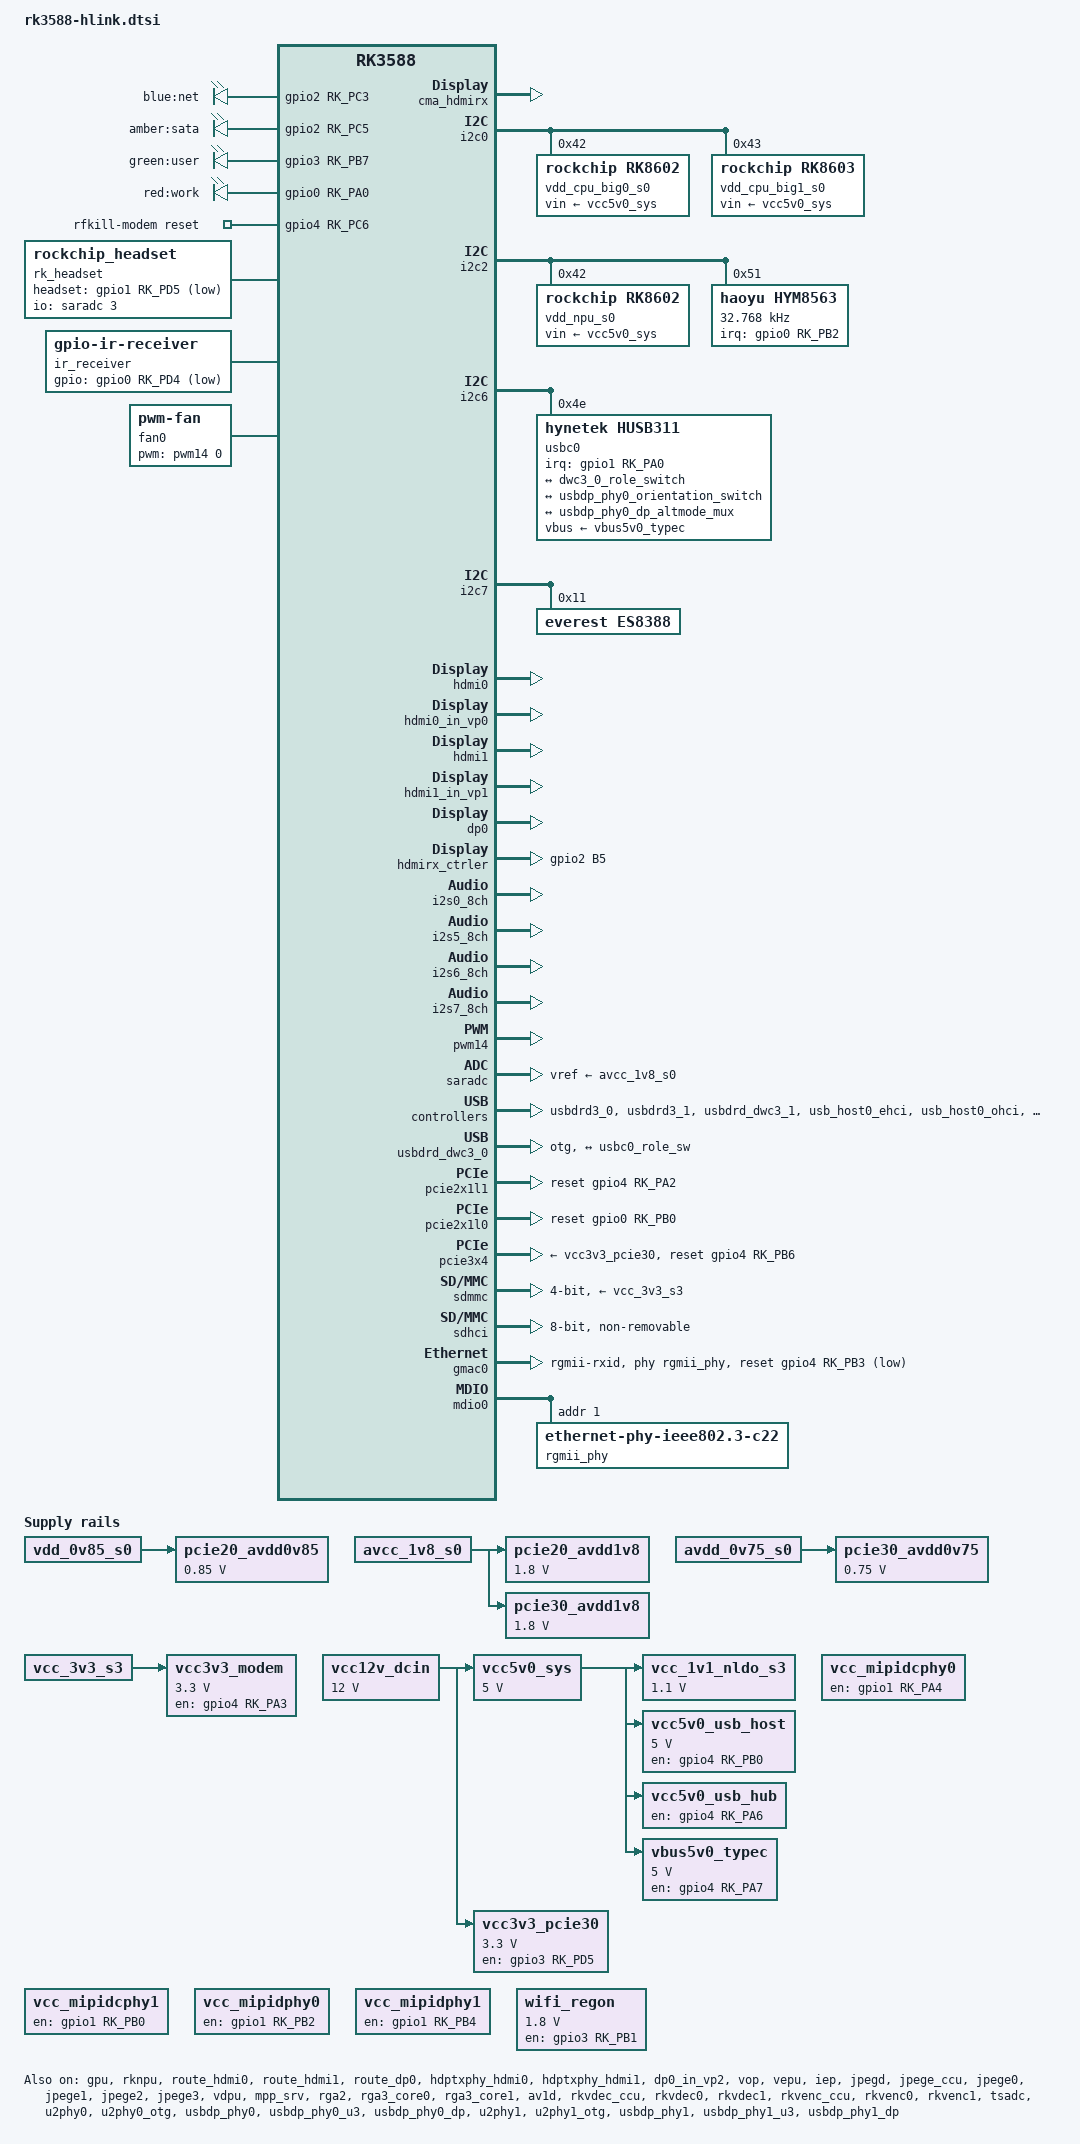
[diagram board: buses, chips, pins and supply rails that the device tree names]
// SPDX-License-Identifier: (GPL-2.0+ OR MIT)
// Copyright (c) 2023 Flippy <flippy@sina.com>

/dts-v1/;

#include <dt-bindings/gpio/gpio.h>
#include <dt-bindings/leds/common.h>
#include <dt-bindings/pwm/pwm.h>
#include <dt-bindings/pinctrl/rockchip.h>
#include <dt-bindings/input/rk-input.h>
#include <dt-bindings/display/drm_mipi_dsi.h>
#include <dt-bindings/display/rockchip_vop.h>
#include <dt-bindings/sensor-dev.h>
#include "dt-bindings/usb/pd.h"
#include "rk3588.dtsi"
#include "rk3588-rk806-single.dtsi"
#include "rk3588-linux.dtsi"
#include "rk3588-gpio-line-names.dtsi"

/ {
	compatible = "rockchip,rk3588";

	reserved-memory {
		#address-cells = <2>;
		#size-cells = <2>;
		ranges;

		/* Reserve 256MB memory for hdmirx-controller@fdee0000
		 * remove the node if hdmirx is disabled 
		 */
		cma_hdmirx: cma-hdmirx {
			compatible = "shared-dma-pool";
			reusable;
			size = <0x0 (256 * 0x100000)>;
		};
	};

	/delete-node/ chosen;

	leds {
		compatible = "gpio-leds";
		pinctrl-names = "default";
		pinctrl-0 = <&led_net_en>, <&led_sata_en>,
			    <&led_user_en>, <&led_work_en>;

		net {
			label = "blue:net";
			gpios = <&gpio2 RK_PC3 GPIO_ACTIVE_HIGH>;
		};

		sata {
			label = "amber:sata";
			gpios = <&gpio2 RK_PC5 GPIO_ACTIVE_HIGH>;
		};

		user {
			label = "green:user";
			gpios = <&gpio3 RK_PB7 GPIO_ACTIVE_HIGH>;
		};

		work {
			label = "red:work";
			gpios = <&gpio0 RK_PA0 GPIO_ACTIVE_HIGH>;
			linux,default-trigger = "default-on";
		};
	};

	vcc12v_dcin: vcc12v-dcin {
		compatible = "regulator-fixed";
		regulator-name = "vcc12v_dcin";
		regulator-always-on;
		regulator-boot-on;
		regulator-min-microvolt = <12000000>;
		regulator-max-microvolt = <12000000>;
	};

	vcc5v0_sys: vcc5v0-sys {
		compatible = "regulator-fixed";
		regulator-name = "vcc5v0_sys";
		regulator-always-on;
		regulator-boot-on;
		regulator-min-microvolt = <5000000>;
		regulator-max-microvolt = <5000000>;
		vin-supply = <&vcc12v_dcin>;
	};

	pcie20_avdd0v85: pcie20-avdd0v85 {
		compatible = "regulator-fixed";
		regulator-name = "pcie20_avdd0v85";
		regulator-boot-on;
		regulator-always-on;
		regulator-min-microvolt = <850000>;
		regulator-max-microvolt = <850000>;
		vin-supply = <&vdd_0v85_s0>;
	};

	pcie20_avdd1v8: pcie20-avdd1v8 {
		compatible = "regulator-fixed";
		regulator-name = "pcie20_avdd1v8";
		regulator-boot-on;
		regulator-always-on;
		regulator-min-microvolt = <1800000>;
		regulator-max-microvolt = <1800000>;
		vin-supply = <&avcc_1v8_s0>;
	};

	pcie30_avdd0v75: pcie30-avdd0v75 {
		compatible = "regulator-fixed";
		regulator-name = "pcie30_avdd0v75";
		regulator-boot-on;
		regulator-always-on;
		regulator-min-microvolt = <750000>;
		regulator-max-microvolt = <750000>;
		vin-supply = <&avdd_0v75_s0>;
	};

	pcie30_avdd1v8: pcie30-avdd1v8 {
		compatible = "regulator-fixed";
		regulator-name = "pcie30_avdd1v8";
		regulator-boot-on;
		regulator-always-on;
		regulator-min-microvolt = <1800000>;
		regulator-max-microvolt = <1800000>;
		vin-supply = <&avcc_1v8_s0>;
	};

	vcc_1v1_nldo_s3: vcc-1v1-nldo-s3 {
		compatible = "regulator-fixed";
		regulator-name = "vcc_1v1_nldo_s3";
		regulator-always-on;
		regulator-boot-on;
		regulator-min-microvolt = <1100000>;
		regulator-max-microvolt = <1100000>;
		vin-supply = <&vcc5v0_sys>;
	};

	vcc3v3_pcie30: vcc3v3-pcie30 {
		compatible = "regulator-fixed";
		regulator-name = "vcc3v3_pcie30";
		regulator-min-microvolt = <3300000>;
		regulator-max-microvolt = <3300000>;
		enable-active-high;
		gpios = <&gpio3 RK_PD5 GPIO_ACTIVE_HIGH>;
		startup-delay-us = <5000>;
		vin-supply = <&vcc12v_dcin>;
	};

	vcc5v0_usb_host: vcc5v0-usb-host {
		compatible = "regulator-fixed";
		regulator-name = "vcc5v0_usb_host";
		regulator-min-microvolt = <5000000>;
		regulator-max-microvolt = <5000000>;
		enable-active-high;
		gpio = <&gpio4 RK_PB0 GPIO_ACTIVE_HIGH>;
		pinctrl-names = "default";
		pinctrl-0 = <&vcc5v0_usb_host_en>;
		vin-supply = <&vcc5v0_sys>;
	};

	/* usb hub reset pin */
	vcc5v0_usb_hub: vcc5v0-usb-hub {
		compatible = "regulator-fixed";
		regulator-name = "vcc5v0_usb_hub";
		regulator-always-on;
		enable-active-high;
		gpio = <&gpio4 RK_PA6 GPIO_ACTIVE_HIGH>;
		pinctrl-names = "default";
		pinctrl-0 = <&vcc5v0_usb_hub_en>;
		startup-delay-us = <50000>;
		vin-supply = <&vcc5v0_sys>;
	};

	vbus5v0_typec: vbus5v0-typec {
		compatible = "regulator-fixed";
		regulator-name = "vbus5v0_typec";
		regulator-min-microvolt = <5000000>;
		regulator-max-microvolt = <5000000>;
		regulator-boot-on;
		enable-active-high;
		gpio = <&gpio4 RK_PA7 GPIO_ACTIVE_HIGH>;
		pinctrl-names = "default";
		pinctrl-0 = <&typec5v_pwren>;
		vin-supply = <&vcc5v0_sys>;
	};

	vcc_mipidcphy0: vcc-mipidcphy0 {
		compatible = "regulator-fixed";
		regulator-name = "vcc_mipidcphy0";
		enable-active-high;
		gpio = <&gpio1 RK_PA4 GPIO_ACTIVE_HIGH>;
		pinctrl-names = "default";
		pinctrl-0 = <&mipidcphy0_pwr>;
	};

	vcc_mipidcphy1: vcc-mipidcphy1 {
		compatible = "regulator-fixed";
		regulator-name = "vcc_mipidcphy1";
		enable-active-high;
		gpio = <&gpio1 RK_PB0 GPIO_ACTIVE_HIGH>;
		pinctrl-names = "default";
		pinctrl-0 = <&mipidcphy1_pwr>;
	};

	vcc_mipidphy0: vcc-mipidphy0 {
		compatible = "regulator-fixed";
		regulator-name = "vcc_mipidphy0";
		enable-active-high;
		gpio = <&gpio1 RK_PB2 GPIO_ACTIVE_HIGH>;
		pinctrl-names = "default";
		pinctrl-0 = <&mipidphy0_pwr>;
	};

	vcc_mipidphy1: vcc-mipidphy1 {
		compatible = "regulator-fixed";
		regulator-name = "vcc_mipidphy1";
		enable-active-high;
		gpio = <&gpio1 RK_PB4 GPIO_ACTIVE_HIGH>;
		pinctrl-names = "default";
		pinctrl-0 = <&mipidphy1_pwr>;
	};

	vcc3v3_modem: vcc3v3-modem {
		compatible = "regulator-fixed";
		enable-active-high;
		regulator-always-on;
		regulator-boot-on;
		gpios = <&gpio4 RK_PA3 GPIO_ACTIVE_HIGH>;
		regulator-min-microvolt = <3300000>;
		regulator-max-microvolt = <3300000>;
		regulator-name = "vcc3v3_modem";
		pinctrl-names = "default";
		pintctrl-0 = <&modem_power_en>;
		vin-supply = <&vcc_3v3_s3>;
	};

	rfkill_modem: rfkill-modem {
		compatible = "rfkill-gpio";
		label = "rfkill-modem";
		type = "wwan";
		reset-gpios = <&gpio4 RK_PC6 GPIO_ACTIVE_HIGH>;

		pinctrl-names = "default";
		pinctrl-0 = <&modem_reset_en>;
	};

	/* wifi regon support some wifi modules like rtl8723be */
	wifi_regon: wifi-regon {
		compatible = "regulator-fixed";
		enable-active-high;
		gpio = <&gpio3 RK_PB1 GPIO_ACTIVE_HIGH>;
		regulator-boot-on;
		regulator-always-on;
		regulator-min-microvolt = <1800000>;
		regulator-max-microvolt = <1800000>;
		regulator-name = "wifi_regon";
		startup-delay-us = <5000>;
	};

	es8388_sound: es8388-sound {
		status = "okay";
		compatible = "simple-audio-card";
		simple-audio-card,format = "i2s";
		simple-audio-card,mclk-fs = <256>;
		simple-audio-card,name = "rockchip-es8388";
		simple-audio-card,dai-link@0 {
			format = "i2s";
			cpu {
				sound-dai = <&i2s0_8ch>;
			};
			codec {
				sound-dai = <&es8388>;
			};
		};
	};

	hdmi0_sound: hdmi0-sound {
		status = "okay";
		compatible = "rockchip,hdmi";
		rockchip,mclk-fs = <128>;
		rockchip,card-name = "rockchip-hdmi0";
		rockchip,cpu = <&i2s5_8ch>;
		rockchip,codec = <&hdmi0>;
		rockchip,jack-det;
	};

	hdmi1_sound: hdmi1-sound {
		status = "okay";
		compatible = "rockchip,hdmi";
		rockchip,mclk-fs = <128>;
		rockchip,card-name = "rockchip-hdmi1";
		rockchip,cpu = <&i2s6_8ch>;
		rockchip,codec = <&hdmi1>;
		rockchip,jack-det;
	};

	dp0_sound: dp0-sound {
		status = "okay";
		compatible = "rockchip,hdmi";
		rockchip,card-name= "rockchip-hdmi2";
		rockchip,mclk-fs = <512>;
		rockchip,cpu = <&spdif_tx2>;
		rockchip,codec = <&dp0 1>;
		rockchip,jack-det;
	};

	hdmiin_sound: hdmiin-sound {
		compatible = "rockchip,hdmi";
		rockchip,mclk-fs = <128>;
		rockchip,format = "i2s";
		rockchip,bitclock-master = <&hdmirx_ctrler>;
		rockchip,frame-master = <&hdmirx_ctrler>;
		rockchip,card-name = "rockchip,hdmiin";
		rockchip,cpu = <&i2s7_8ch>;
		rockchip,codec = <&hdmirx_ctrler 0>;
		rockchip,jack-det;
	};

	rk_headset: rk-headset {
		status = "okay";
		compatible = "rockchip_headset";
		headset_gpio = <&gpio1 RK_PD5 GPIO_ACTIVE_LOW>;
		pinctrl-names = "default";
		pinctrl-0 = <&hp_det>;
		io-channels = <&saradc 3>;
	};

	ir_receiver: ir-receiver {
		compatible = "gpio-ir-receiver";
		gpios = <&gpio0 RK_PD4 GPIO_ACTIVE_LOW>;
		pinctrl-0 = <&ir_int_pin>;
		pinctrl-names = "default";
	};

	fan0: pwm-fan {
		compatible = "pwm-fan";
		#cooling-cells = <2>;
		cooling-levels = <0 64 128 192 255>;
		pwms = <&pwm14 0 50000 0>;
	};
};

&cpu_l0 {
	cpu-supply = <&vdd_cpu_lit_s0>;
	mem-supply = <&vdd_cpu_lit_mem_s0>;
};

&cpu_b0 {
	cpu-supply = <&vdd_cpu_big0_s0>;
	mem-supply = <&vdd_cpu_big0_mem_s0>;
};

&cpu_b2 {
	cpu-supply = <&vdd_cpu_big1_s0>;
	mem-supply = <&vdd_cpu_big1_mem_s0>;
};

&gpu {
	mali-supply = <&vdd_gpu_s0>;
	mem-supply = <&vdd_gpu_mem_s0>;
	status = "okay";
};

&rknpu {
	rknpu-supply = <&vdd_npu_s0>;
	mem-supply = <&vdd_npu_mem_s0>;
	status = "okay";
};

&rknpu_mmu {
	status = "okay";
};

&crypto {
	status = "disabled";
};

&i2c0 {
	pinctrl-names = "default";
	pinctrl-0 = <&i2c0m2_xfer>;
	status = "okay";

	vdd_cpu_big0_s0: vdd_cpu_big0_mem_s0: rk8602@42 {
		compatible = "rockchip,rk8602";
		reg = <0x42>;
		regulator-always-on;
		regulator-boot-on;
		regulator-compatible = "rk860x-reg";
		regulator-min-microvolt = <550000>;
		regulator-max-microvolt = <1050000>;
		regulator-name = "vdd_cpu_big0_s0";
		regulator-ramp-delay = <2300>;
		rockchip,suspend-voltage-selector = <1>;
		vin-supply = <&vcc5v0_sys>;

		regulator-state-mem {
			regulator-off-in-suspend;
		};
	};

	vdd_cpu_big1_s0: vdd_cpu_big1_mem_s0: rk8603@43 {
		compatible = "rockchip,rk8603";
		reg = <0x43>;
		regulator-always-on;
		regulator-boot-on;
		regulator-compatible = "rk860x-reg";
		regulator-min-microvolt = <550000>;
		regulator-max-microvolt = <1050000>;
		regulator-name = "vdd_cpu_big1_s0";
		regulator-ramp-delay = <2300>;
		rockchip,suspend-voltage-selector = <1>;
		vin-supply = <&vcc5v0_sys>;

		regulator-state-mem {
			regulator-off-in-suspend;
		};
	};
};

&i2c2 {
	status = "okay";

	vdd_npu_s0: vdd_npu_mem_s0: rk8602@42 {
		compatible = "rockchip,rk8602";
		reg = <0x42>;
		regulator-always-on;
		regulator-boot-on;
		regulator-compatible = "rk860x-reg";
		regulator-min-microvolt = <550000>;
		regulator-max-microvolt = <950000>;
		regulator-name = "vdd_npu_s0";
		regulator-ramp-delay = <2300>;
		rockchip,suspend-voltage-selector = <1>;
		vin-supply = <&vcc5v0_sys>;

		regulator-state-mem {
			regulator-off-in-suspend;
		};
	};

	hym8563: hym8563@51 {
		compatible = "haoyu,hym8563";
		reg = <0x51>;
		#clock-cells = <0>;
		clock-frequency = <32768>;
		clock-output-names = "hym8563";
		interrupt-parent = <&gpio0>;
		interrupts = <RK_PB2 IRQ_TYPE_LEVEL_LOW>;
		pinctrl-names = "default";
		pinctrl-0 = <&rtc_int>;
		wakeup-source;
	};
};

&i2c6 {
	status = "okay";

	usbc0: husb311@4e {
		status = "okay";
		compatible = "hynetek,husb311";
		reg = <0x4e>;
		interrupt-parent = <&gpio1>;
		interrupts = <RK_PA0 IRQ_TYPE_LEVEL_LOW>;
		pinctrl-names = "default";
		pinctrl-0 = <&usbc0_int>;
		vbus-supply = <&vbus5v0_typec>;

		ports {
			#address-cells = <1>;
			#size-cells = <0>;

			port@0 {
				reg = <0>;
				usbc0_role_sw: endpoint@0 {
					remote-endpoint = <&dwc3_0_role_switch>;
				};
			};
		};

		usb_con: connector {
			compatible = "usb-c-connector";
			label = "USB-C";
			data-role = "dual";
			power-role = "dual";
			try-power-role = "sink";
			op-sink-microwatt = <1000000>;
			sink-pdos =
				<PDO_FIXED(5000, 3000, PDO_FIXED_USB_COMM)>;
			source-pdos =
				<PDO_FIXED(5000, 3000, PDO_FIXED_USB_COMM)>;

			altmodes {
				#address-cells = <1>;
				#size-cells = <0>;

				altmode@0 {
					reg = <0>;
					svid = <0xff01>;
					vdo = <0xffffffff>;
				};
			};

			ports {
				#address-cells = <1>;
				#size-cells = <0>;

				port@0 {
					reg = <0>;
					usbc0_orien_sw: endpoint {
						remote-endpoint = <&usbdp_phy0_orientation_switch>;
					};
				};

				port@1 {
					reg = <1>;
					dp_altmode_mux: endpoint {
						remote-endpoint = <&usbdp_phy0_dp_altmode_mux>;
					};
				};
			};
		};
	};
};

&i2c7 {
	status = "okay";

	es8388: es8388@11 {
		compatible = "everest,es8388", "everest,es8323";
		reg = <0x11>;
		clocks = <&cru I2S0_8CH_MCLKOUT>;
		clock-names = "mclk";
		assigned-clocks = <&cru I2S0_8CH_MCLKOUT>;
		assigned-clock-rates = <12288000>;
		pinctrl-names = "default";
		pinctrl-0 = <&i2s0_mclk>;
		#sound-dai-cells = <0>;
	};
};

&display_subsystem {
	clocks = <&hdptxphy_hdmi_clk0>, <&hdptxphy_hdmi_clk1>;
	clock-names = "hdmi0_phy_pll", "hdmi1_phy_pll";
};

&route_hdmi0 {
	status = "okay";
	force-output;
	connect = <&vp0_out_hdmi0>;
};

&route_hdmi1 {
	status = "okay";
	force-output;
	connect = <&vp1_out_hdmi1>;
};

&route_dp0 {
	status = "okay";
	connect = <&vp2_out_dp0>;
};

&hdptxphy_hdmi_clk0 {
	status = "okay";
};

&hdptxphy_hdmi_clk1 {
	status = "okay";
};

&hdptxphy_hdmi0 {
	status = "okay";
};

&hdptxphy_hdmi1 {
	status = "okay";
};

&hdmi0 {
	enable-gpios = <&gpio4 RK_PB1 GPIO_ACTIVE_HIGH>;
	cec-enable = "true";
	status = "okay";
};

&hdmi0_in_vp0 {
	status = "okay";
};

&hdmi0_in_vp1 {
	status = "disabled";
};

&hdmi0_in_vp2 {
	status = "disabled";
};

&hdmi1 {
	enable-gpios = <&gpio4 RK_PB2 GPIO_ACTIVE_HIGH>;
	cec-enable = "true";
	status = "okay";
};

&hdmi1_in_vp0 {
	status = "disabled";
};

&hdmi1_in_vp1 {
	status = "okay";
};

&hdmi1_in_vp2 {
	status = "disabled";
};

&dp0 {
	status = "okay";
};

&dp0_in_vp0 {
	status = "disabled";
};

&dp0_in_vp1 {
	status = "disabled";
};

&dp0_in_vp2 {
	status = "okay";
};

&vop {
	status = "okay";
};

&vop_mmu {
	status = "okay";
};

&vepu {
	status = "okay";
};

/* vp0 & vp1 splice for 8K output */
&vp0 {
	rockchip,plane-mask = <(1 << ROCKCHIP_VOP2_CLUSTER0 | 1 << ROCKCHIP_VOP2_ESMART0)>;
	rockchip,primary-plane = <ROCKCHIP_VOP2_CLUSTER0>;
	cursor-win-id = <ROCKCHIP_VOP2_ESMART0>;
};

&vp1 {
	rockchip,plane-mask = <(1 << ROCKCHIP_VOP2_CLUSTER1 | 1 << ROCKCHIP_VOP2_ESMART1)>;
	rockchip,primary-plane = <ROCKCHIP_VOP2_CLUSTER1>;
	cursor-win-id = <ROCKCHIP_VOP2_ESMART1>;
};

&vp2 {
	rockchip,plane-mask = <(1 << ROCKCHIP_VOP2_CLUSTER2 | 1 << ROCKCHIP_VOP2_ESMART2)>;
	rockchip,primary-plane = <ROCKCHIP_VOP2_CLUSTER2>;
	cursor-win-id = <ROCKCHIP_VOP2_ESMART2>;
};

&vp3 {
	rockchip,plane-mask = <(1 << ROCKCHIP_VOP2_CLUSTER3 | 1 << ROCKCHIP_VOP2_ESMART3)>;
	rockchip,primary-plane = <ROCKCHIP_VOP2_CLUSTER3>;
	cursor-win-id = <ROCKCHIP_VOP2_ESMART3>;
};

/* Should work with at least 128MB cma reserved above. */
&hdmirx_ctrler {
	status = "okay";
	memory-region = <&cma_hdmirx>;

	#sound-dai-cells = <1>;
	/* Effective level used to trigger HPD: 0-low, 1-high */
	hpd-trigger-level = <1>;
	hdmirx-det-gpios = <&gpio2 RK_PB5 GPIO_ACTIVE_LOW>;
	pinctrl-names = "default";
	pinctrl-0 = <&hdmim1_rx_cec &hdmim1_rx_hpdin &hdmim1_rx_scl &hdmim1_rx_sda &hdmirx_det>;
};

&i2s0_8ch {
	status = "okay";
	rockchip,playback-channels = <2>;
	rockchip,capture-channels = <2>;
	#sound-dai-cells = <0>;
	pinctrl-names = "default";
	pinctrl-0 = <&i2s0_lrck
			 &i2s0_sclk
			 &i2s0_sdi0
			 &i2s0_sdo0>;
};

&i2s5_8ch {
	status = "okay";
};

&i2s6_8ch {
	status = "okay";
};

&i2s7_8ch {
	status = "okay";
};

&iep {
	status = "okay";
};

&iep_mmu {
	status = "okay";
};

&jpegd {
	status = "okay";
};

&jpegd_mmu {
	status = "okay";
};

&jpege_ccu {
	status = "okay";
};

&jpege0 {
	status = "okay";
};

&jpege0_mmu {
	status = "okay";
};

&jpege1 {
	status = "okay";
};

&jpege1_mmu {
	status = "okay";
};

&jpege2 {
	status = "okay";
};

&jpege2_mmu {
	status = "okay";
};

&jpege3 {
	status = "okay";
};

&jpege3_mmu {
	status = "okay";
};

&vdpu {
	status = "okay";
};

&vdpu_mmu {
	status = "okay";
};

&mpp_srv {
	status = "okay";
};

&rga2 {
	status = "okay";
};

&rga3_core0 {
	status = "okay";
};

&rga3_0_mmu {
	status = "okay";
};

&rga3_core1 {
	status = "okay";
};

&rga3_1_mmu {
	status = "okay";
};

&av1d {
	status = "okay";
};

&av1d_mmu {
	status = "okay";
};

&pwm14 {
	status = "okay";
};

&threshold {
	temperature = <60000>;
};

&soc_thermal {
	sustainable-power = <5000>; /* milliwatts */

	cooling-maps {

		map3 {
			trip = <&target>;
			cooling-device =
				<&fan0 THERMAL_NO_LIMIT THERMAL_NO_LIMIT>;
			contribution = <8192>;
		};

		map4 {
			trip = <&threshold>;
			cooling-device =
				<&fan0 THERMAL_NO_LIMIT THERMAL_NO_LIMIT>;
			contribution = <8192>;
		};
	};
};

&rkvdec_ccu {
	status = "okay";
};

&rkvdec0 {
	status = "okay";
};

&rkvdec0_mmu {
	status = "okay";
};

&rkvdec1 {
	status = "okay";
};

&rkvdec1_mmu {
	status = "okay";
};

&rkvenc_ccu {
	status = "okay";
};

&rkvenc0 {
	status = "okay";
};

&rkvenc0_mmu {
	status = "okay";
};

&rkvenc1 {
	status = "okay";
};

&rkvenc1_mmu {
	status = "okay";
};

&saradc {
	status = "okay";
	vref-supply = <&avcc_1v8_s0>;
};

&tsadc {
	status = "okay";
};

&rockchip_suspend {
	compatible = "rockchip,pm-rk3588";
	status = "okay";
	rockchip,sleep-debug-en = <1>;
	rockchip,sleep-mode-config = <
		(0
		| RKPM_SLP_ARMOFF_DDRPD
		)
	>;
	rockchip,wakeup-config = <
		(0
		| RKPM_GPIO_WKUP_EN
		| RKPM_USB_WKUP_EN
		)
	>;
};

&avdd_0v75_s0 {
	regulator-state-mem {
		regulator-on-in-suspend;
		regulator-suspend-microvolt = <837500>;
	};
};

&avcc_1v8_s0 {
	regulator-state-mem {
		regulator-on-in-suspend;
		regulator-suspend-microvolt = <1800000>;
	};
};

&vcc_1v8_s0 {
	regulator-state-mem {
		regulator-on-in-suspend;
		regulator-suspend-microvolt = <1800000>;
	};
};

&vcc_3v3_s0 {
	regulator-state-mem {
		regulator-on-in-suspend;
		regulator-suspend-microvolt = <3300000>;
	};
};

&vdd_log_s0 {
	regulator-state-mem {
		regulator-on-in-suspend;
		regulator-suspend-microvolt = <750000>;
	};
};

&vdd_ddr_pll_s0 {
	regulator-state-mem {
		regulator-on-in-suspend;
		regulator-suspend-microvolt = <850000>;
	};
};

&sfc {
	status = "disabled";
	max-freq = <50000000>;
	#address-cells = <1>;
	#size-cells = <0>;
	pinctrl-names = "default";
	pinctrl-0 = <&fspim2_pins>;

	spi_flash: spi-flash@0 {
		#address-cells = <1>;
		#size-cells = <0>;
		compatible = "jedec,spi-nor";
		reg = <0x0>;
		spi-max-frequency = <50000000>;
		spi-tx-bus-width = <1>;
		spi-rx-bus-width = <4>;
		status = "okay";

		partitions {
			compatible = "fixed-partitions";
			#address-cells = <1>;
			#size-cells = <1>;

			loader@0 {
				label = "loader";
				reg = <0x0 0x1000000>;
			};
		};
	};
};

/* Begin of USB
 * TYPEC0 
 *   usbdrd3_0 + usbdrd_dwc3_0 
 *   u2phy0 + u2phy0_otg + usbdp_phy0 + usbdp_phy0_u3
 */
&usbdrd3_0 {
	status = "okay";
};

&usbdrd_dwc3_0 {
	status = "okay";
	dr_mode = "otg";
	extcon = <&u2phy0>;
	usb-role-switch;

	port {
		#address-cells = <1>;
		#size-cells = <0>;
		dwc3_0_role_switch: endpoint@0 {
			reg = <0>;
			remote-endpoint = <&usbc0_role_sw>;
		};
	};
};

&u2phy0 {
	status = "okay";
};

&u2phy0_otg {
	status = "okay";
	vbus-supply = <&vbus5v0_typec>;
	rockchip,typec-vbus-det;
};

&usbdp_phy0 {
	status = "okay";
	orientation-switch;

	rockchip,dp-lane-mux = < 2 3 >;

	svid = <0xff01>;
	sbu1-dc-gpios = <&gpio0 RK_PC6 GPIO_ACTIVE_HIGH>;
	sbu2-dc-gpios = <&gpio0 RK_PD3 GPIO_ACTIVE_HIGH>;

	port {
		#address-cells = <1>;
		#size-cells = <0>;
		usbdp_phy0_orientation_switch: endpoint@0 {
			reg = <0>;
			remote-endpoint = <&usbc0_orien_sw>;
		};

		usbdp_phy0_dp_altmode_mux: endpoint@1 {
			reg = <1>;
			remote-endpoint = <&dp_altmode_mux>;
		};
	};
};

&usbdp_phy0_u3 {
	status = "okay";
};

&usbdp_phy0_dp {
	status = "okay";
};

/* TYPEC1
 * usbdrd3_1 + usbdrd_dwc3_1
 * u2phy1 + u2phy1_otg + usbdp_phy1 + usbdp_phy1_u3
 */
&usbdrd3_1 {
	status = "okay";
};

&usbdrd_dwc3_1 {
	status = "okay";
};

&u2phy1 {
	status = "okay";
};

&u2phy1_otg {
	phy-supply = <&vcc5v0_usb_host>;
	status = "okay";
};

&usbdp_phy1 {
	status = "okay";
};

&usbdp_phy1_u3 {
	status = "okay";
};

&usbdp_phy1_dp {
	status = "okay";
};

/* USB20_HOST0
 * usb_host0_ehci + usb_host0_ohci
 * u2phy2 + u2phy2_host
 */ 
&usb_host0_ehci {
	status = "okay";
};

&usb_host0_ohci {
	status = "okay";
};

&u2phy2 {
	status = "okay";
};

&u2phy2_host {
	status = "okay";
};

/* USB20_HOST1
 * usb_host1_ehci + usb_host1_ohci
 * u2phy3 + u2phy3_host
 */
&usb_host1_ehci {
	status = "okay";
};

&usb_host1_ohci {
	status = "okay";
};

&u2phy3 {
	status = "okay";
};

&u2phy3_host {
	status = "okay";
};

/* USB30_2 | pcie2x1l1 | sata2 => combphy2_psu
 * usbhost3_0 + usbhost_dwc3_0 | pcie2x1l1 | sata2
 * combphy2_psu
 */
&usbhost3_0 {
	status = "disabled";
};

&usbhost_dwc3_0 {
	status = "disabled";
};

/* rtl8125b 2.5g ethernet */
&pcie2x1l1 {
	reset-gpios = <&gpio4 RK_PA2 GPIO_ACTIVE_HIGH>;
	status = "okay";
};

&sata2 {
	status = "disabled";
}; 

&combphy2_psu {
	status = "okay";
};

/* pce2x1l0 | sata1 => combphy1_ps */
/* m.2 slot for pcie wifi module or extend rtl8125b board */
&pcie2x1l0 {
	reset-gpios = <&gpio0 RK_PB0 GPIO_ACTIVE_HIGH>;
	status = "okay";
};

&sata1 {
	status = "disabled";
}; 

&combphy1_ps {
	status = "okay";
};

/* pcie3x4 => pcie30phy */
/* H88K v1 & v2: pcie x4 slot */
/* H88K v3: m.2 nvme */
&pcie3x4 {
	reset-gpios = <&gpio4 RK_PB6 GPIO_ACTIVE_HIGH>;
	vpcie3v3-supply = <&vcc3v3_pcie30>;
	status = "okay";
};

&pcie30phy {
	rockchip,pcie30-phymode = <PHY_MODE_PCIE_AGGREGATION>;
	status = "okay";
};

/* pcie2x1l2 | sata0 => combphy0_ps */
/* H88K V1 & V2 : sata0 enabled */
/* H88K V3 : pcie2x1l2 enabled */
&pcie2x1l2 {
	status = "disabled";
};

&sata0 {
	status = "disabled";
};

&combphy0_ps {
	status = "disabled";
};

&sdmmc {
	status = "okay";
	max-frequency = <50000000>;
	bus-width = <4>;
	no-mmc;
	no-sdio;
	cap-mmc-highspeed;
	cap-sd-highspeed;
	disable-wp;
	vmmc-supply = <&vcc_3v3_s3>;
	vqmmc-supply = <&vccio_sd_s0>;
	pinctrl-names = "default";
	pinctrl-0 = <&sdmmc_bus4 &sdmmc_clk &sdmmc_cmd &sdmmc_det>;
};

&sdhci {
	status = "okay";
	max-frequency = <200000000>;
	bus-width = <8>;
	no-sd;
	no-sdio;
	mmc-ddr-1_8v;
	mmc-hs200-1_8v;
	non-removable;
};

&gmac0 {
	status = "okay";
	pinctrl-names = "default";
	pinctrl-0 = <&gmac0_miim
		     &gmac0_tx_bus2
		     &gmac0_rx_bus2
		     &gmac0_rgmii_clk
		     &gmac0_rgmii_bus>;

	phy-handle = <&rgmii_phy>;

	clock_in_out = "output";
	phy-mode = "rgmii-rxid";
	tx_delay = <0x44>;

	snps,reset-gpio = <&gpio4 RK_PB3 GPIO_ACTIVE_LOW>;
	snps,reset-active-low;
	/* Reset time is 20ms, 100ms for rtl8211f */
	snps,reset-delays-us = <0 20000 100000>;
};

&mdio0 {
	rgmii_phy: phy@1 {
		compatible = "ethernet-phy-ieee802.3-c22";
		reg = <0x1>;
	};
};

&pinctrl {
	leds {
		led_net_en: led_net_en {
			rockchip,pins = <2 RK_PC3 RK_FUNC_GPIO &pcfg_pull_none>;
		};

		led_sata_en: led_sata_en {
			rockchip,pins = <2 RK_PC5 RK_FUNC_GPIO &pcfg_pull_none>;
		};

		led_user_en: led_user_en {
			rockchip,pins = <3 RK_PB7 RK_FUNC_GPIO &pcfg_pull_none>;
		};

		led_work_en: led_work_en {
			rockchip,pins = <0 RK_PA0 RK_FUNC_GPIO &pcfg_pull_none>;
		};
	};

	headphone {
		hp_det: hp-det {
			rockchip,pins = <1 RK_PD5 RK_FUNC_GPIO &pcfg_pull_none>;
		};
	};

	hdmirx {
		hdmirx_det: hdmirx-det {
			rockchip,pins = <2 RK_PB5 RK_FUNC_GPIO &pcfg_pull_up>;
		};
	};

	ir {
		ir_int_pin: ir-int-pin {
			rockchip,pins = <0 RK_PD4 RK_FUNC_GPIO &pcfg_pull_up>;
		};
	};

	rtc {
		rtc_int: rtc-int {
			rockchip,pins = <0 RK_PB2 RK_FUNC_GPIO &pcfg_pull_up>;
		};
	};

	usb {
		vcc5v0_usb_host_en: vcc5v0_usb_host_en {
			rockchip,pins = <4 RK_PB0 RK_FUNC_GPIO &pcfg_pull_none>;
		};

		vcc5v0_usb_hub_en: vcc5v0_usb_hub_en {
			rockchip,pins = <4 RK_PA6 RK_FUNC_GPIO &pcfg_pull_none>;
		};

		typec5v_pwren: typec5v-pwren {
			rockchip,pins = <4 RK_PA7 RK_FUNC_GPIO &pcfg_pull_none>;
		};
	};

	usb-typec {
		usbc0_int: usbc0-int {
			rockchip,pins = <1 RK_PA0 RK_FUNC_GPIO &pcfg_pull_up>;
		};
	};

	modem {
		modem_power_en: modem-power-en {
			rockchip,pins = <4 RK_PA3 RK_FUNC_GPIO &pcfg_pull_none>;
		};

		modem_reset_en: modem-reset-en {
			rockchip,pins = <4 RK_PC6 RK_FUNC_GPIO &pcfg_pull_none>;
		};
	};

	mipi {
		mipidcphy0_pwr: mipidcphy0-pwreset-en {
			rockchip,pins = <1 RK_PA4 RK_FUNC_GPIO &pcfg_pull_none>;
		};

		mipidcphy1_pwr: mipidcphy1-pwreset-en {
			rockchip,pins = <1 RK_PB0 RK_FUNC_GPIO &pcfg_pull_none>;
		};

		mipidphy0_pwr: mipidphy0-pwreset-en {
			rockchip,pins = <1 RK_PB2 RK_FUNC_GPIO &pcfg_pull_none>;
		};

		mipidphy1_pwr: mipidphy1-pwreset-en {
			rockchip,pins = <1 RK_PB4 RK_FUNC_GPIO &pcfg_pull_none>;
		};
	};
};
